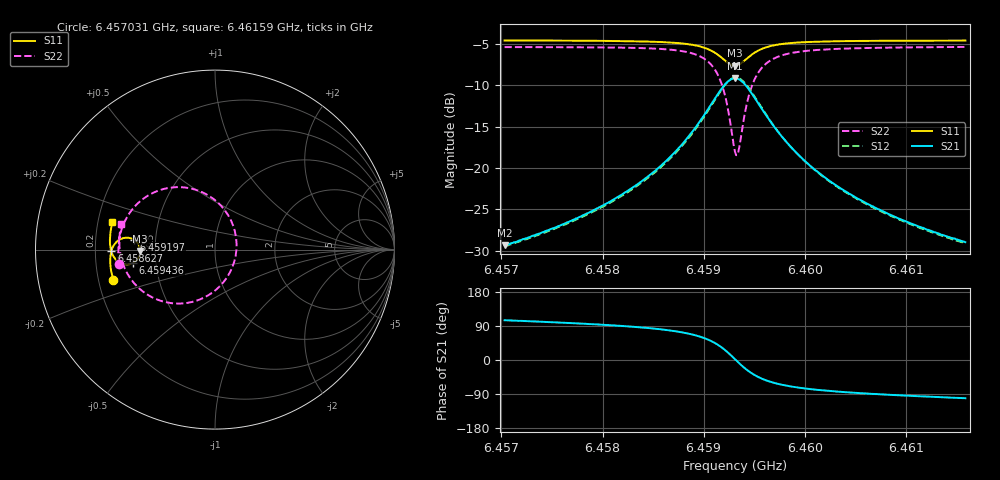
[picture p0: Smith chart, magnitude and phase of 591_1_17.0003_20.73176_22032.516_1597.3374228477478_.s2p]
#  HZ  S  RI  R  50.00
! Rohde & Schwarz Vector Network Analyzer
! Rohde-Schwarz,ZNB20-2Port,1311601062101988,3.16
! Created: UTC 3/20/2024, 11:18:37 PM
! freq[Hz]  re:S11  im:S11  re:S21  im:S21  re:S12  im:S12  re:S22  im:S22
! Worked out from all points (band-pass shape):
!   401 points, 6.457031 GHz to 6.46159 GHz, reference 50 ohm
!   highest |S21| = -9.14 dB at 6.459311 GHz (marker M1); lowest = -29.4 dB at 6.457031 GHz (marker M2)
!   |S21| within 3 dB of the highest: 6.459083 GHz to 6.459539 GHz (455.6 kHz wide, 0.00705 % of centre)
!   lowest |S11| = -7.6 dB at 6.459311 GHz (marker M3), VSWR 2.43, Z = 20.6 - j0.416 ohm
!   |S11| at or under -10 dB: nowhere
!   |S22| runs from -18.4 to -5.3 dB; largest |S21 - S12| = 0.014
!   S11 on the Smith chart (normalised r, x): 6.457031 GHz: 0.26, -0.14; 6.458627 GHz: 0.27, -0.01; 6.459197 GHz: 0.37, +0.05; 6.459436 GHz: 0.37, -0.07; 6.46159 GHz: 0.26, +0.12
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6.4570314e9  -0.5678 -0.1681  -0.00874 0.0328  -0.00694 0.0329  -0.5337 -0.0799
6.457795e9  -0.5813 -0.1009  -0.00537 0.051  -0.0028 0.0503  -0.5384 0.0104
6.4582166e9  -0.5838 -0.0585  0.000651 0.0707  0.00407 0.0692  -0.5297 0.0777
6.4585585e9  -0.5798 -0.0173  0.0149 0.0997  0.0188 0.0969  -0.5034 0.1558
6.4586269e9  -0.5775 -0.00786  0.0204 0.108  0.0245 0.1048  -0.4932 0.1758
6.4588207e9  -0.5646 0.0224  0.0472 0.1392  0.0514 0.1341  -0.4425 0.2452
6.4589688e9  -0.5416 0.0488  0.0932 0.1696  0.0963 0.163  -0.3578 0.3099
6.4591056e9  -0.4975 0.0661  0.1813 0.1862  0.1821 0.1787  -0.1966 0.348
6.4591967e9  -0.4525 0.0556  0.272 0.1543  0.2722 0.1484  -0.0284 0.2961
6.4592651e9  -0.4232 0.0231  0.3329 0.0814  0.335 0.0761  0.0881 0.1646
6.4593107e9  -0.4163 -0.00835  0.3491 0.0128  0.353 0.00574  0.1201 0.0358
6.4593449e9  -0.4204 -0.0322  0.3429 -0.0404  0.3471 -0.0496  0.108 -0.065
6.4593905e9  -0.4362 -0.0586  0.314 -0.1009  0.3162 -0.1129  0.0488 -0.1793
6.4594361e9  -0.4586 -0.0751  0.2712 -0.1421  0.2704 -0.1557  -0.0379 -0.2547
6.4594817e9  -0.4816 -0.082  0.2261 -0.1647  0.2222 -0.1777  -0.1283 -0.2917
6.4595272e9  -0.5024 -0.0819  0.1851 -0.1733  0.1791 -0.1849  -0.2091 -0.3007
6.4596754e9  -0.5465 -0.0614  0.0965 -0.1588  0.0878 -0.1651  -0.3787 -0.2496
6.4598464e9  -0.5691 -0.0316  0.0493 -0.1284  0.0416 -0.1311  -0.4631 -0.1717
6.4600743e9  -0.5809 0.00212  0.022 -0.0984  0.0162 -0.0988  -0.5076 -0.093
6.4604048e9  -0.5854 0.0416  0.00639 -0.0718  0.00219 -0.0713  -0.5284 -0.0155
6.4608379e9  -0.5834 0.0855  -0.00154 -0.0523  -0.00452 -0.0516  -0.5328 0.0551
6.46159e9  -0.5712 0.1523  -0.00666 -0.0349  -0.00844 -0.0339  -0.5213 0.1445
